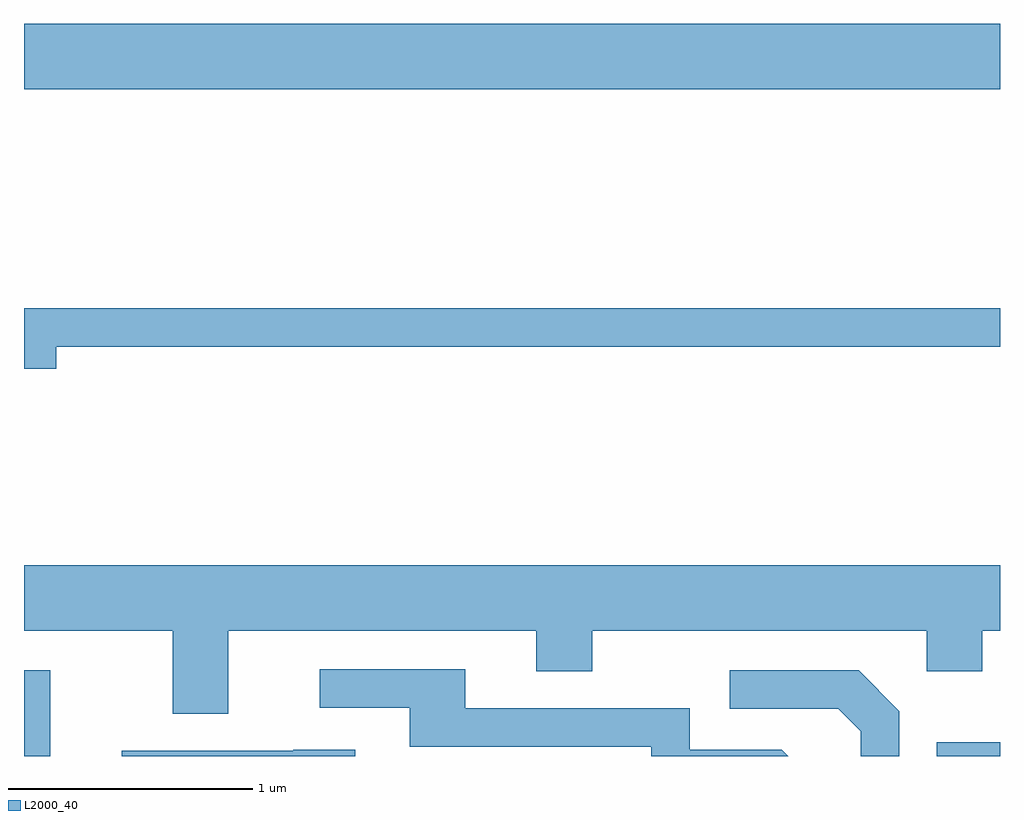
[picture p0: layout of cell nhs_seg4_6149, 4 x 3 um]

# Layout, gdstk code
import gdstk
lib = gdstk.Library(unit=1e-6, precision=1e-09)
def R(c, l, rs):  # rectangles x0, y0, x1, y1
    for r in rs: c.add(gdstk.rectangle(r[:2], r[2:], *l))
def P(c, l, *ps):  # polygons
    for p in ps: c.add(gdstk.Polygon(p, *l))
L2000_40 = (2000, 40)

nhs_seg4_6149 = lib.new_cell('nhs_seg4_6149')
R(nhs_seg4_6149, L2000_40, [(365.611,1311.982,365.719,1312.334), (369.351,1311.982,369.611,1312.039), (365.611,1314.716,369.611,1314.984)])
P(nhs_seg4_6149, L2000_40, [(365.744,1313.661),(369.611,1313.661),(369.611,1313.819),(365.611,1313.819),(365.611,1313.571),(365.744,1313.571)],
  [(366.449,1312.496),(367.711,1312.496),(367.711,1312.331),(367.939,1312.331),(367.939,1312.496),(369.311,1312.496),(369.311,1312.331),(369.539,1312.331),(369.539,1312.496),(369.611,1312.496),(369.611,1312.764),(365.611,1312.764),(365.611,1312.496),(366.221,1312.496),(366.221,1312.156),(366.449,1312.156)],
  [(368.717,1312.009),(368.339,1312.009),(368.339,1312.179),(367.419,1312.179),(367.419,1312.339),(366.823,1312.339),(366.823,1312.181),(367.191,1312.181),(367.191,1312.021),(368.181,1312.021),(368.181,1311.982),(368.744,1311.982)],
  [(369.199,1312.167),(369.032,1312.334),(368.503,1312.334),(368.503,1312.176),(368.949,1312.176),(369.041,1312.084),(369.041,1311.982),(369.199,1311.982)],
  [(366.969,1312.009),(366.715,1312.009),(366.715,1312.004),(366.011,1312.004),(366.011,1311.982),(366.969,1311.982)])

lib.write_gds('nhs_seg4_6149.gds')
